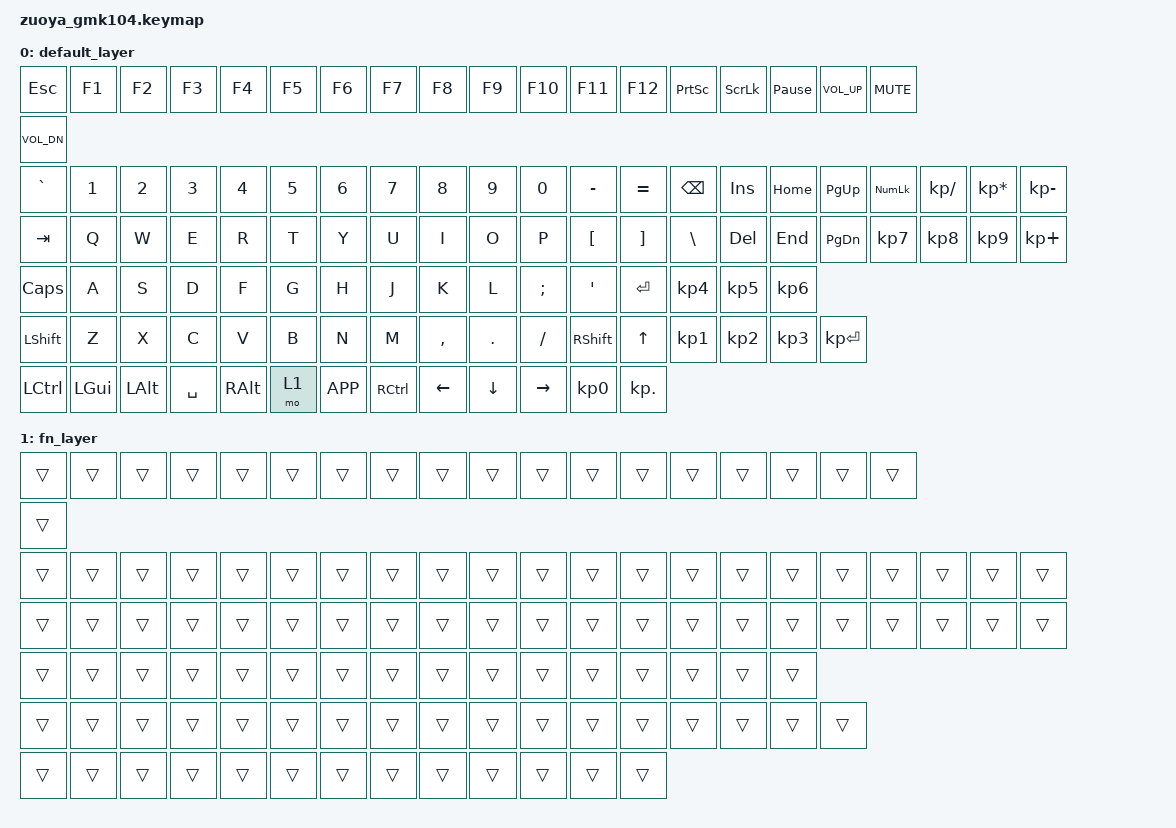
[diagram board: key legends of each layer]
#include <behaviors.dtsi>
#include <dt-bindings/zmk/keys.h>
#include <dt-bindings/zmk/bt.h>
#include <dt-bindings/zmk/outputs.h>

/*
 * ZUOYA GMK104 — DRAFT keymap  [UNVERIFIED LEGENDS]
 *
 * Key COUNT and ORDER match the matrix transform in zuoya_gmk104.dts (generated
 * from the VIA definition, so they are correct). The LEGENDS below are a
 * best-effort guess for a standard full-size + numpad + encoder layout — verify
 * each one live in ZMK Studio once flashed and fix as needed. Known unknowns:
 *   - encoder keys RC(5,4)/(5,6)/(5,7): guessed as volume up/down/mute
 *   - bottom-right RC(5,10)/(5,11)/(5,12): guessed as Fn / Menu / RCTRL
 *   - RC(7,13) is REUSED by two physical keys in the VIA JSON (ESC and the tall
 *     numpad key): on real hardware they can't share a cell, so one is wrong —
 *     resolve by probing. Here ESC is given to the top key, KP_ENTER to the tall one.
 */

/ {
	keymap {
		compatible = "zmk,keymap";

		default_layer {
			bindings = <
				&kp ESC &kp F1 &kp F2 &kp F3 &kp F4 &kp F5 &kp F6 &kp F7 &kp F8 &kp F9 &kp F10 &kp F11 &kp F12 &kp PSCRN &kp SLCK &kp PAUSE_BREAK &kp C_VOL_UP &kp C_MUTE
				&kp C_VOL_DN
				&kp GRAVE &kp N1 &kp N2 &kp N3 &kp N4 &kp N5 &kp N6 &kp N7 &kp N8 &kp N9 &kp N0 &kp MINUS &kp EQUAL &kp BSPC &kp INS &kp HOME &kp PG_UP &kp KP_NUM &kp KP_DIVIDE &kp KP_MULTIPLY &kp KP_MINUS
				&kp TAB &kp Q &kp W &kp E &kp R &kp T &kp Y &kp U &kp I &kp O &kp P &kp LBKT &kp RBKT &kp BSLH &kp DEL &kp END &kp PG_DN &kp KP_N7 &kp KP_N8 &kp KP_N9 &kp KP_PLUS
				&kp CAPS &kp A &kp S &kp D &kp F &kp G &kp H &kp J &kp K &kp L &kp SEMI &kp SQT &kp RET &kp KP_N4 &kp KP_N5 &kp KP_N6
				&kp LSHFT &kp Z &kp X &kp C &kp V &kp B &kp N &kp M &kp COMMA &kp DOT &kp FSLH &kp RSHFT &kp UP &kp KP_N1 &kp KP_N2 &kp KP_N3 &kp KP_ENTER
				&kp LCTRL &kp LGUI &kp LALT &kp SPACE &kp RALT &mo 1 &kp K_APP &kp RCTRL &kp LEFT &kp DOWN &kp RIGHT &kp KP_N0 &kp KP_DOT
			>;
		};

		fn_layer {
			bindings = <
				&trans &trans &trans &trans &trans &trans &trans &trans &trans &trans &trans &trans &trans &trans &trans &trans &trans &trans
				&trans
				&trans &trans &trans &trans &trans &trans &trans &trans &trans &trans &trans &trans &trans &trans &trans &trans &trans &trans &trans &trans &trans
				&trans &trans &trans &trans &trans &trans &trans &trans &trans &trans &trans &trans &trans &trans &trans &trans &trans &trans &trans &trans &trans
				&trans &trans &trans &trans &trans &trans &trans &trans &trans &trans &trans &trans &trans &trans &trans &trans
				&trans &trans &trans &trans &trans &trans &trans &trans &trans &trans &trans &trans &trans &trans &trans &trans &trans
				&trans &trans &trans &trans &trans &trans &trans &trans &trans &trans &trans &trans &trans
			>;
		};
	};
};
